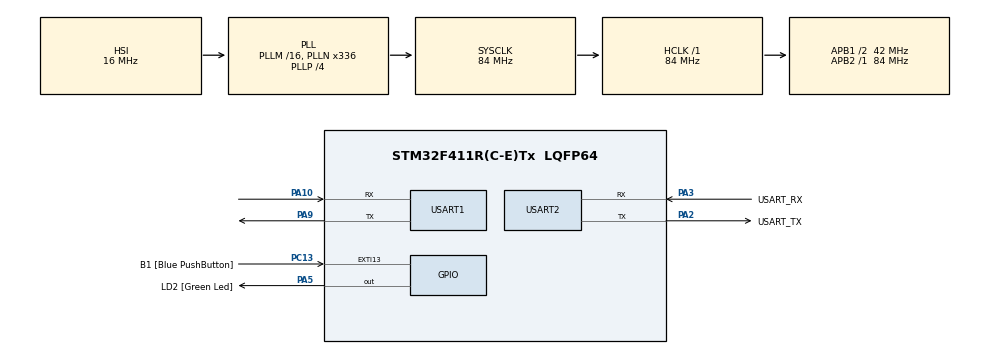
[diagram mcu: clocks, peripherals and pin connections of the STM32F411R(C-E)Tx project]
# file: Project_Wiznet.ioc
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Mcu.Family=STM32F4
Mcu.Name=STM32F411R(C-E)Tx
Mcu.Package=LQFP64
NVIC.PriorityGroup=NVIC_PRIORITYGROUP_0
PA10.Mode=Asynchronous
PA10.Signal=USART1_RX
PA13.GPIO_Label=TMS
PA13.Mode=Serial_Wire
PA13.Signal=SYS_JTMS-SWDIO
PA14.GPIO_Label=TCK
PA14.Mode=Serial_Wire
PA14.Signal=SYS_JTCK-SWCLK
PA2.GPIO_Label=USART_TX
PA2.Mode=Asynchronous
PA2.Signal=USART2_TX
PA3.GPIO_Label=USART_RX
PA3.Mode=Asynchronous
PA3.Signal=USART2_RX
PA5.GPIO_Label=LD2 [Green Led]
PA5.Signal=GPIO_Output
PA9.Mode=Asynchronous
PA9.Signal=USART1_TX
PB3.GPIO_Label=SWO
PB3.Signal=SYS_JTDO-SWO
PC13-ANTI_TAMP.GPIO_Label=B1 [Blue PushButton]
PC13-ANTI_TAMP.GPIO_ModeDefaultEXTI=GPIO_MODE_IT_FALLING
PC13-ANTI_TAMP.Signal=GPXTI13
PC14-OSC32_IN.Mode=LSE-External-Oscillator
PC14-OSC32_IN.Signal=RCC_OSC32_IN
PC15-OSC32_OUT.Mode=LSE-External-Oscillator
PC15-OSC32_OUT.Signal=RCC_OSC32_OUT
PH0\ -\ OSC_IN.Mode=HSE-External-Clock-Source
PH0\ -\ OSC_IN.Signal=RCC_OSC_IN
PH1\ -\ OSC_OUT.Mode=HSE-External-Clock-Source
PH1\ -\ OSC_OUT.Signal=RCC_OSC_OUT
ProjectManager.HeapSize=0x200
ProjectManager.StackSize=0x400
ProjectManager.TargetToolchain=SW4STM32
RCC.48MHZClocksFreq_Value=84000000
RCC.AHBFreq_Value=84000000
RCC.APB1CLKDivider=RCC_HCLK_DIV2
RCC.APB1Freq_Value=42000000
RCC.APB1TimFreq_Value=84000000
RCC.APB2Freq_Value=84000000
RCC.APB2TimFreq_Value=84000000
RCC.CortexFreq_Value=84000000
RCC.FLatency-AdvancedSettings=FLASH_LATENCY_2
RCC.HCLKFreq_Value=84000000
RCC.HSE_VALUE=8000000
RCC.HSI_VALUE=16000000
RCC.PLLN=336
RCC.PLLP=RCC_PLLP_DIV4
RCC.SYSCLKFreq_VALUE=84000000
RCC.SYSCLKSource=RCC_SYSCLKSOURCE_PLLCLK
RCC.VCOOutputFreq_Value=336000000
RTC.Alarm=RTC_ALARM_A
USART1.VirtualMode=VM_ASYNC
USART2.VirtualMode=VM_ASYNC
VP_RTC_VS_RTC_Activate.Mode=RTC_Enabled
VP_RTC_VS_RTC_Alarm_A_Intern.Mode=Alarm A
VP_RTC_VS_RTC_Calendar.Mode=RTC_Calendar
board=NUCLEO-F411RE

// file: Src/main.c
/* USER CODE BEGIN Header */
/**
  ******************************************************************************
  * @file           : main.c
  * @brief          : Main program body
  ******************************************************************************
  * @attention
  *
  * <h2><center>&copy; Copyright (c) 2020 STMicroelectronics.
  * All rights reserved.</center></h2>
  *
  * This software component is licensed by ST under BSD 3-Clause license,
  * the "License"; You may not use this file except in compliance with the
  * License. You may obtain a copy of the License at:
  *                        opensource.org/licenses/BSD-3-Clause
  *
  ******************************************************************************
  */
/* USER CODE END Header */

#include "main.h"
#include <string.h>
#include<stdlib.h>

RTC_HandleTypeDef hrtc;

UART_HandleTypeDef huart1;
UART_HandleTypeDef huart2;

void SystemClock_Config(void);
static void MX_GPIO_Init(void);
static void MX_RTC_Init(void);
static void MX_USART1_UART_Init(void);
static void MX_USART2_UART_Init(void);

/* USER CODE BEGIN 0 */
char msg[100];
char msg1[100];
/* USER CODE END 0 */

int main(void)
{

  /* MCU Configuration--------------------------------------------------------*/

  /* Reset of all peripherals, Initializes the Flash interface and the Systick. */
  HAL_Init();

  /* USER CODE BEGIN Init */
  int count=1;
  int count1=1;
  int buttonCurrent;
  int buttonPrev;
  char msg[100]={0};
  char msg1[100]={0};
  char msg3[100]={0};
  char msg4[100]={0};
  char msg5[100]={0};
  /* USER CODE END Init */

  /* Configure the system clock */
  SystemClock_Config();

  /* Initialize all configured peripherals */
  MX_GPIO_Init();
  MX_RTC_Init();
  MX_USART1_UART_Init();
  MX_USART2_UART_Init();

    HAL_UART_Transmit(&huart1, "AT\r\n", strlen("AT\r\n"),0x00ff);
			HAL_Delay(2000);

	HAL_UART_Transmit(&huart1, "AT+SYSGPIODIR=19,1\r\n",strlen("AT+SYSGPIODIR=19,1\r\n"), 0x00ff);
	HAL_Delay(2000);

	HAL_UART_Transmit(&huart1, "AT+CWMODE_CUR=1\r\n",strlen("AT+CWMODE_CUR=1\r\n"), 0x00ff);
	HAL_Delay(2000);
	HAL_UART_Receive(&huart1, msg3, 5, 2000);
		HAL_UART_Transmit(&huart2, msg3, strlen(msg3), 0x00ff);
	HAL_UART_Transmit(&huart1, "AT+CWJAP_CUR=\"wiznet_india\",\"wiznet12345!\"\r\n",strlen("AT+CWJAP_CUR=\"wiznet_india\",\"wiznet12345!\"\r\n"), 0x00ff);
	HAL_Delay(6000);
	HAL_UART_Receive(&huart1, msg,10,2000);
	    HAL_UART_Transmit(&huart2, msg, strlen(msg),0x0ff);
	HAL_UART_Transmit(&huart2, "Hello_world\n", strlen("hello_wo\n"), 0x00ff);

	HAL_UART_Transmit(&huart1, "AT+CIPSNTPCFG=1,5,\"cn.ntp.org.cn\"\r\n",strlen("AT+CIPSNTPCFG=1,5,\"cn.ntp.org.cn\"\r\n"), 0x00ff);
	HAL_Delay(1000);

	HAL_UART_Transmit(&huart1,"AT+AZSET=\"RP2040-WizFi360-hub\",\"WizFi360EvbPico\",\"S6P9eTcy4SeUpA5Eb23fPoY33ESt4GpnYsJOchJHEXc=\"\r\n",strlen("AT+AZSET=\"RP2040-WizFi360-hub\",\"WizFi360EvbPico\",\"S6P9eTcy4SeUpA5Eb23fPoY33ESt4GpnYsJOchJHEXc=\"\r\n"),0x00ff);
	HAL_Delay(2000);
//	HAL_UART_Receive(&huart1, msg3, 5, 2000);
//			HAL_UART_Transmit(&huart2, msg3, strlen(msg3), 0x00ff);
	HAL_UART_Transmit(&huart1,"AT+MQTTTOPIC=\"devices/WizFi360EvbPico/messages/events/\",\"devices/WizFi360EvbPico/messages/devicebound/#\"\r\n",strlen("AT+MQTTTOPIC=\"devices/WizFi360EvbPico/messages/events/\",\"devices/WizFi360EvbPico/messages/devicebound/#\"\r\n"),0x00ff);
	HAL_Delay(2000);

	HAL_UART_Transmit(&huart1, "AT+AZCON\r\n", strlen("AT+AZCON\r\n"), 0x00ff);

	HAL_UART_Receive(&huart1, msg4, 100, 4000);
	//HAL_UART_Transmit(&huart2, msg4, strlen(msg4), 0xffff);

	HAL_Delay(2000);

 	 	  char s1[]=":";
 	 	  char s2[]=" ";
 	 	  char clud_msg1[500];
 	 	  char clud_msg2[500];
 	 	  char *p,*p1;
 	 	  int i=0;
 	 	*p="2.5";
  /* Infinite loop */
  /* USER CODE BEGIN WHILE */
  while (1)
  {
	  buttonCurrent=HAL_GPIO_ReadPin(GPIOC,GPIO_PIN_13);
	  if (buttonCurrent == GPIO_PIN_SET && buttonPrev == GPIO_PIN_RESET)
	  {
		  if(count== GPIO_PIN_SET)
		  {
			  count= GPIO_PIN_RESET;
		  }
		  else
		  {
			  count= GPIO_PIN_SET;
		  }
	  }

	  if(count==1)
	  {
		  HAL_Delay(500);
		  HAL_UART_Transmit(&huart1,"AT+SYSGPIOWRITE=19,1\r\n",strlen("AT+SYSGPIOWRITE=19,1\r\n"),0x00ff);
		  if(count1==1)
		  {
			  i++;
			  HAL_Delay(500);
			  sprintf(clud_msg1,"AT+MQTTPUB=\"{\"Wizfi360_teju\":\"WizFi360\",\"Event\":%d.0}\"\r\n",i);
			  HAL_UART_Transmit(&huart1,clud_msg1,strlen(clud_msg1),0x0fff);
		  }
		  count1=0;
	  }

	  else
	  {
		  HAL_Delay(500);
		  HAL_UART_Transmit(&huart1,"AT+SYSGPIOWRITE=19,0\r\n",strlen("AT+SYSGPIOWRITE=19,0\r\n"),0x00ff);
		  if(count1==0)
		  {
			  	  	  	  HAL_Delay(500);
			  	  	  	  i++;
			 			  sprintf(clud_msg2,"AT+MQTTPUB=\"{\"Wizfi360_teju\":\"WizFi360\",\"Event\":%d.0}\"\r\n",i);
			 			 HAL_UART_Transmit(&huart1,clud_msg1,strlen(clud_msg1),0x0fff);
		  }
			  count1=1;
	  }
	  buttonPrev=buttonCurrent;

    /* USER CODE END WHILE */

	    }
}

void SystemClock_Config(void)
{
  RCC_OscInitTypeDef RCC_OscInitStruct = {0};
  RCC_ClkInitTypeDef RCC_ClkInitStruct = {0};
  RCC_PeriphCLKInitTypeDef PeriphClkInitStruct = {0};

  /** Configure the main internal regulator output voltage
  */
  __HAL_RCC_PWR_CLK_ENABLE();
  __HAL_PWR_VOLTAGESCALING_CONFIG(PWR_REGULATOR_VOLTAGE_SCALE1);
  /** Initializes the CPU, AHB and APB busses clocks
  */
  RCC_OscInitStruct.OscillatorType = RCC_OSCILLATORTYPE_HSI|RCC_OSCILLATORTYPE_LSI;
  RCC_OscInitStruct.HSIState = RCC_HSI_ON;
  RCC_OscInitStruct.HSICalibrationValue = RCC_HSICALIBRATION_DEFAULT;
  RCC_OscInitStruct.LSIState = RCC_LSI_ON;
  RCC_OscInitStruct.PLL.PLLState = RCC_PLL_ON;
  RCC_OscInitStruct.PLL.PLLSource = RCC_PLLSOURCE_HSI;
  RCC_OscInitStruct.PLL.PLLM = 16;
  RCC_OscInitStruct.PLL.PLLN = 336;
  RCC_OscInitStruct.PLL.PLLP = RCC_PLLP_DIV4;
  RCC_OscInitStruct.PLL.PLLQ = 4;
  if (HAL_RCC_OscConfig(&RCC_OscInitStruct) != HAL_OK)
  {
    Error_Handler();
  }
  /** Initializes the CPU, AHB and APB busses clocks
  */
  RCC_ClkInitStruct.ClockType = RCC_CLOCKTYPE_HCLK|RCC_CLOCKTYPE_SYSCLK
                              |RCC_CLOCKTYPE_PCLK1|RCC_CLOCKTYPE_PCLK2;
  RCC_ClkInitStruct.SYSCLKSource = RCC_SYSCLKSOURCE_PLLCLK;
  RCC_ClkInitStruct.AHBCLKDivider = RCC_SYSCLK_DIV1;
  RCC_ClkInitStruct.APB1CLKDivider = RCC_HCLK_DIV2;
  RCC_ClkInitStruct.APB2CLKDivider = RCC_HCLK_DIV1;

  if (HAL_RCC_ClockConfig(&RCC_ClkInitStruct, FLASH_LATENCY_2) != HAL_OK)
  {
    Error_Handler();
  }
  PeriphClkInitStruct.PeriphClockSelection = RCC_PERIPHCLK_RTC;
  PeriphClkInitStruct.RTCClockSelection = RCC_RTCCLKSOURCE_LSI;
  if (HAL_RCCEx_PeriphCLKConfig(&PeriphClkInitStruct) != HAL_OK)
  {
    Error_Handler();
  }
}

static void MX_RTC_Init(void)
{

  RTC_TimeTypeDef sTime = {0};
  RTC_DateTypeDef sDate = {0};
  RTC_AlarmTypeDef sAlarm = {0};

  /** Initialize RTC Only
  */
  hrtc.Instance = RTC;
  hrtc.Init.HourFormat = RTC_HOURFORMAT_24;
  hrtc.Init.AsynchPrediv = 127;
  hrtc.Init.SynchPrediv = 255;
  hrtc.Init.OutPut = RTC_OUTPUT_DISABLE;
  hrtc.Init.OutPutPolarity = RTC_OUTPUT_POLARITY_HIGH;
  hrtc.Init.OutPutType = RTC_OUTPUT_TYPE_OPENDRAIN;
  if (HAL_RTC_Init(&hrtc) != HAL_OK)
  {
    Error_Handler();
  }

  /** Initialize RTC and set the Time and Date
  */
  sTime.Hours = 0x0;
  sTime.Minutes = 0x0;
  sTime.Seconds = 0x0;
  sTime.DayLightSaving = RTC_DAYLIGHTSAVING_NONE;
  sTime.StoreOperation = RTC_STOREOPERATION_RESET;
  if (HAL_RTC_SetTime(&hrtc, &sTime, RTC_FORMAT_BCD) != HAL_OK)
  {
    Error_Handler();
  }
  sDate.WeekDay = RTC_WEEKDAY_MONDAY;
  sDate.Month = RTC_MONTH_JANUARY;
  sDate.Date = 0x1;
  sDate.Year = 0x0;

  if (HAL_RTC_SetDate(&hrtc, &sDate, RTC_FORMAT_BCD) != HAL_OK)
  {
    Error_Handler();
  }
  /** Enable the Alarm A
  */
  sAlarm.AlarmTime.Hours = 0x0;
  sAlarm.AlarmTime.Minutes = 0x0;
  sAlarm.AlarmTime.Seconds = 0x0;
  sAlarm.AlarmTime.SubSeconds = 0x0;
  sAlarm.AlarmTime.DayLightSaving = RTC_DAYLIGHTSAVING_NONE;
  sAlarm.AlarmTime.StoreOperation = RTC_STOREOPERATION_RESET;
  sAlarm.AlarmMask = RTC_ALARMMASK_NONE;
  sAlarm.AlarmSubSecondMask = RTC_ALARMSUBSECONDMASK_ALL;
  sAlarm.AlarmDateWeekDaySel = RTC_ALARMDATEWEEKDAYSEL_DATE;
  sAlarm.AlarmDateWeekDay = 0x1;
  sAlarm.Alarm = RTC_ALARM_A;
  if (HAL_RTC_SetAlarm(&hrtc, &sAlarm, RTC_FORMAT_BCD) != HAL_OK)
  {
    Error_Handler();
  }

}

static void MX_USART1_UART_Init(void)
{

  huart1.Instance = USART1;
  huart1.Init.BaudRate = 115200;
  huart1.Init.WordLength = UART_WORDLENGTH_8B;
  huart1.Init.StopBits = UART_STOPBITS_1;
  huart1.Init.Parity = UART_PARITY_NONE;
  huart1.Init.Mode = UART_MODE_TX_RX;
  huart1.Init.HwFlowCtl = UART_HWCONTROL_NONE;
  huart1.Init.OverSampling = UART_OVERSAMPLING_16;
  if (HAL_UART_Init(&huart1) != HAL_OK)
  {
    Error_Handler();
  }

}

static void MX_USART2_UART_Init(void)
{

  huart2.Instance = USART2;
  huart2.Init.BaudRate = 115200;
  huart2.Init.WordLength = UART_WORDLENGTH_8B;
  huart2.Init.StopBits = UART_STOPBITS_1;
  huart2.Init.Parity = UART_PARITY_NONE;
  huart2.Init.Mode = UART_MODE_TX_RX;
  huart2.Init.HwFlowCtl = UART_HWCONTROL_NONE;
  huart2.Init.OverSampling = UART_OVERSAMPLING_16;
  if (HAL_UART_Init(&huart2) != HAL_OK)
  {
    Error_Handler();
  }

}

static void MX_GPIO_Init(void)
{
  GPIO_InitTypeDef GPIO_InitStruct = {0};

  /* GPIO Ports Clock Enable */
  __HAL_RCC_GPIOC_CLK_ENABLE();
  __HAL_RCC_GPIOH_CLK_ENABLE();
  __HAL_RCC_GPIOA_CLK_ENABLE();
  __HAL_RCC_GPIOB_CLK_ENABLE();

  /*Configure GPIO pin Output Level */
  HAL_GPIO_WritePin(LD2_GPIO_Port, LD2_Pin, GPIO_PIN_RESET);

  /*Configure GPIO pin : B1_Pin */
  GPIO_InitStruct.Pin = B1_Pin;
  GPIO_InitStruct.Mode = GPIO_MODE_IT_FALLING;
  GPIO_InitStruct.Pull = GPIO_NOPULL;
  HAL_GPIO_Init(B1_GPIO_Port, &GPIO_InitStruct);

  /*Configure GPIO pin : LD2_Pin */
  GPIO_InitStruct.Pin = LD2_Pin;
  GPIO_InitStruct.Mode = GPIO_MODE_OUTPUT_PP;
  GPIO_InitStruct.Pull = GPIO_NOPULL;
  GPIO_InitStruct.Speed = GPIO_SPEED_FREQ_LOW;
  HAL_GPIO_Init(LD2_GPIO_Port, &GPIO_InitStruct);

}

void Error_Handler(void)
{
}

/************************ (C) COPYRIGHT STMicroelectronics *****END OF FILE****/
